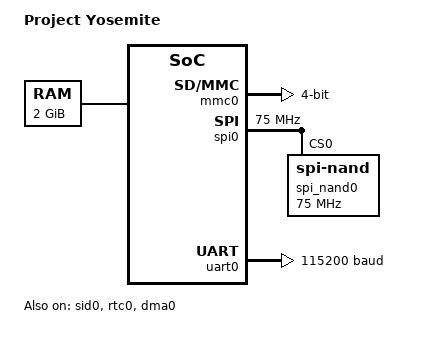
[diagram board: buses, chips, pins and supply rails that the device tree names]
// SPDX-License-Identifier: GPL-2.0+
/dts-v1/;

#include <dt-bindings/dram/dram-param.h>

#include <dt-bindings/gpio/sunxi-gpio.h>
#include <dt-bindings/soc/sun8iw21.h>

/ {
	#address-cells = <1>;
	#size-cells = <1>;
	model = "Project Yosemite";
	compatible = "syterkit,project-yosemite";

	aliases {
		sid0 = &sid0;
		dma0 = &dma0;
		dram0 = &dram0;
		mmc0 = &mmc0;
		rtc0 = &rtc0;
		spi0 = &spi0;
		spi-nand0 = &spi_nand0;
	};

	chosen {
		stdout-path = &uart0;
	};

	dram_memory: memory@40000000 {
		device_type = "memory";
		reg = <0x40000000 0x80000000>;
	};

	dram0: dram-controller {
		compatible = "allwinner,sunxi-dram";
		allwinner,dram-parameters =
			<0x000003a8>,
			<SUNXI_DRAM_DDR3>,
			<0x007b7bfb>,
			<0x00000001>,
			<0x000010f2>,
			<0x00000000>,
			<0x00001c70>,
			<0x00000042>,
			<0x00000018>,
			<0x00000000>,
			<0x004a2195>,
			<0x02423190>,
			<0x0008b061>,
			<0xb4787896>,
			<0x00000000>,
			<0x48484848>,
			<0x00000048>,
			<0x1621121e>,
			<0x00000000>,
			<0x00000000>,
			<0x00000000>,
			<0x00420000>,
			<0x00000048>,
			<0x34010100>,
			<0x00000000>, <0x00000000>, <0x00000000>, <0x00000000>,
			<0x00000000>, <0x00000000>, <0x00000000>, <0x00000000>;
		status = "okay";
	};

	pio: pinctrl@2000000 {
		compatible = "allwinner,sunxi-pinctrl";
		reg = <SUNXI_PIO_BASE 0x1000>;
		allwinner,bank-base = <SUNXI_GPIO_PORT_A>;
		allwinner,bank-count = <11>;
		gpio-controller;
		#gpio-cells = <3>;

		mmc0_pins: mmc0-pins {
			allwinner,pins =
				<SUNXI_GPIO_PORT_F 2 2>,
				<SUNXI_GPIO_PORT_F 3 2>,
				<SUNXI_GPIO_PORT_F 1 2>,
				<SUNXI_GPIO_PORT_F 0 2>,
				<SUNXI_GPIO_PORT_F 5 2>,
				<SUNXI_GPIO_PORT_F 4 2>;
		};

		spi0_pins: spi0-pins {
			allwinner,pins =
				<SUNXI_GPIO_PORT_C 1 4>,
				<SUNXI_GPIO_PORT_C 0 4>,
				<SUNXI_GPIO_PORT_C 2 4>,
				<SUNXI_GPIO_PORT_C 3 4>,
				<SUNXI_GPIO_PORT_C 4 4>,
				<SUNXI_GPIO_PORT_C 5 4>;
		};

		uart0_pins: uart0-pins {
			allwinner,pins =
				<SUNXI_GPIO_PORT_H 7 4>,
				<SUNXI_GPIO_PORT_H 8 4>;
		};
	};

	reserved-memory {
		#address-cells = <1>;
		#size-cells = <1>;
		ranges;

		mmc0_dma: dma-descriptors@40700000 {
			reg = <0x40700000 0x100000>;
			no-map;
		};
	};

	soc {
		compatible = "simple-bus";
		#address-cells = <1>;
		#size-cells = <1>;
		ranges;

		sid0: efuse@3006000 {
			compatible = "allwinner,sunxi-sid";
			reg = <SUNXI_SID_BASE 0x400>;
			allwinner,efuse-hv-switch = <(SUNXI_RTC_BASE + 0x204)>;
			status = "okay";
		};

		rtc0: rtc@7090100 {
			compatible = "allwinner,sunxi-rtc";
			reg = <SUNXI_RTC_DATA_BASE 0x100>;
			status = "okay";
		};

		dma0: dma-controller@3002000 {
			compatible = "allwinner,sunxi-dma";
			reg = <SUNXI_DMA_BASE 0x1000>;
			#dma-cells = <1>;
			allwinner,mbus-clock-gate = <(SUNXI_CCM_BASE + 0x804) 0>;
			allwinner,clock-gate = <(SUNXI_CCM_BASE + 0x70c) 0>;
			allwinner,reset = <(SUNXI_CCM_BASE + 0x70c) 16>;
			status = "okay";
		};

		mmc0: mmc@4020000 {
			compatible = "allwinner,sunxi-mmc";
			reg = <SUNXI_SMHC0_BASE 0x1000>;
			label = "sdhci0";
			allwinner,mmc-id = <0>;
			bus-width = <4>;
			max-frequency = <50000000>;
			memory-region = <&mmc0_dma>;
			allwinner,clock-gate = <(SUNXI_CCM_BASE + 0x84c) 0>;
			allwinner,reset = <(SUNXI_CCM_BASE + 0x84c) 16>;
			allwinner,module-clock =
				<(SUNXI_CCM_BASE + 0x830) 8 0 1>;
			allwinner,clock-source-rates =
				<24000000 400000000 300000000 0>;
			pinctrl-names = "default";
			pinctrl-0 = <&mmc0_pins>;
			status = "okay";
		};

		spi0: spi@4025000 {
			compatible = "allwinner,sunxi-spi";
			#address-cells = <1>;
			#size-cells = <0>;
			allwinner,spi-id = <0>;
			reg = <SUNXI_SPI0_BASE 0x1000>;
			clock-frequency = <75000000>;
			allwinner,module-clock = <(SUNXI_CCM_BASE + 0x940) 1 8 300000000 0>;
			allwinner,clock-gate = <(SUNXI_CCM_BASE + 0x96c) 0>;
			allwinner,reset = <(SUNXI_CCM_BASE + 0x96c) 16>;
			dmas = <&dma0 22>;
			dma-names = "rx";
			pinctrl-names = "default";
			pinctrl-0 = <&spi0_pins>;
			status = "okay";

			spi_nand0: flash@0 {
				compatible = "spi-nand";
				reg = <0>;
				spi-max-frequency = <75000000>;
			};
		};

		uart0: serial@2500000 {
			compatible = "allwinner,sunxi-uart";
			reg = <SUNXI_UART0_BASE 0x400>;
			current-speed = <115200>;
			clock-frequency = <24000000>;
			allwinner,uart-id = <0>;
			allwinner,clock-gate = <(SUNXI_CCM_BASE + 0x90c) 0>;
			allwinner,reset = <(SUNXI_CCM_BASE + 0x90c) 16>;
			pinctrl-names = "default";
			pinctrl-0 = <&uart0_pins>;
			status = "okay";
		};
	};
};
